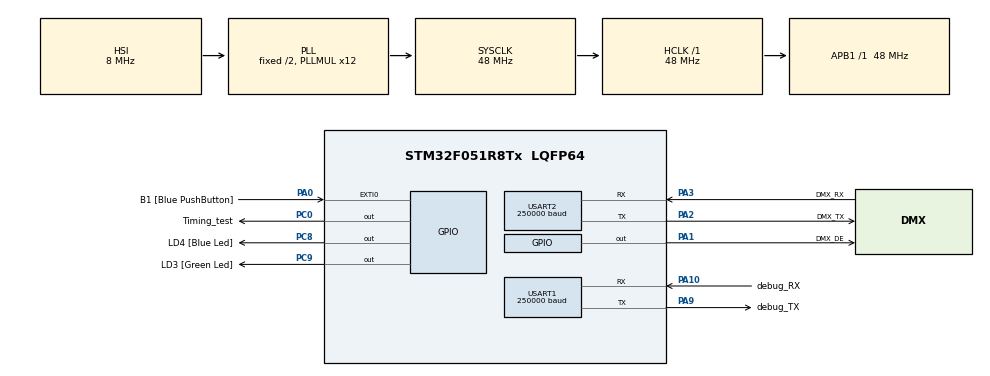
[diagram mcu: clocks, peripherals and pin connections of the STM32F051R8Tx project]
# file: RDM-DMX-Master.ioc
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Mcu.Family=STM32F0
Mcu.Name=STM32F051R8Tx
Mcu.Package=LQFP64
NVIC.TIM17_IRQn=true\:0\:0\:false\:false\:true\:true\:true\:true
PA0.GPIO_Label=B1 [Blue PushButton]
PA0.GPIO_ModeDefaultEXTI=GPIO_MODE_EVT_RISING
PA0.Signal=GPXTI0
PA1.GPIO_Label=DMX_DE
PA1.Signal=GPIO_Output
PA10.GPIO_Label=debug_RX
PA10.Mode=Asynchronous
PA10.Signal=USART1_RX
PA13.GPIO_Label=SWDIO
PA13.Mode=Serial_Wire
PA13.Signal=SYS_SWDIO
PA14.GPIO_Label=SWCLK
PA14.Mode=Serial_Wire
PA14.Signal=SYS_SWCLK
PA2.GPIO_Label=DMX_TX
PA2.Mode=Asynchronous
PA2.Signal=USART2_TX
PA3.GPIO_Label=DMX_RX
PA3.Mode=Asynchronous
PA3.Signal=USART2_RX
PA9.GPIO_Label=debug_TX
PA9.Mode=Asynchronous
PA9.Signal=USART1_TX
PC0.GPIO_Label=Timing_test
PC0.GPIO_Speed=GPIO_SPEED_FREQ_HIGH
PC0.Signal=GPIO_Output
PC8.GPIO_Label=LD4 [Blue Led]
PC8.Signal=GPIO_Output
PC9.GPIO_Label=LD3 [Green Led]
PC9.Signal=GPIO_Output
ProjectManager.HeapSize=0x200
ProjectManager.StackSize=0x400
ProjectManager.TargetToolchain=STM32CubeIDE
RCC.AHBFreq_Value=48000000
RCC.APB1Freq_Value=48000000
RCC.APB1TimFreq_Value=48000000
RCC.HCLKFreq_Value=48000000
RCC.PLLMUL=RCC_PLL_MUL12
RCC.SYSCLKFreq_VALUE=48000000
RCC.SYSCLKSource=RCC_SYSCLKSOURCE_PLLCLK
TIM17.AutoReloadPreload=TIM_AUTORELOAD_PRELOAD_ENABLE
TIM17.Period=0xffff
TIM17.Prescaler=48-1
TIM2.Prescaler=48-1
USART1.BaudRate=250000
USART1.StopBits=STOPBITS_2
USART1.VirtualMode-Asynchronous=VM_ASYNC
USART2.BaudRate=250000
USART2.StopBits=STOPBITS_2
USART2.VirtualMode-Asynchronous=VM_ASYNC
VP_TIM17_VS_ClockSourceINT.Mode=Enable_Timer
VP_TIM2_VS_ClockSourceINT.Mode=Internal
board=STM32F0DISCOVERY

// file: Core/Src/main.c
/* USER CODE BEGIN Header */
/**
  ******************************************************************************
  * @file           : main.c
  * @brief          : Main program body
  ******************************************************************************
  * @attention
  *
  * Copyright (c) 2023 STMicroelectronics.
  * All rights reserved.
  *
  * This software is licensed under terms that can be found in the LICENSE file
  * in the root directory of this software component.
  * If no LICENSE file comes with this software, it is provided AS-IS.
  *
  ******************************************************************************
  */
/* USER CODE END Header */
#include "main.h"

/* USER CODE BEGIN Includes */
#include "DMX.h"
#include <stdio.h>
#include <stdlib.h>
/* USER CODE END Includes */

/* USER CODE BEGIN PD */
#define TIMEOUT 100
#define NUM_CHANNELS 40
//#define DEBUG_RDM
//#define DEBUG_DMX
#define GUI_RDM_DMX
/* USER CODE END PD */

/* USER CODE BEGIN PM */
/* Macros para utilizar os mesmos pinos como UART e GPIO */
#define DMX_UART_Init() MX_USART2_UART_Init()
#define DMX_UART_DeInit HAL_UART_DeInit(&huart2)
#define DMX_GPIO_DeInit() HAL_GPIO_DeInit(GPIOA, GPIO_PIN_2); // Desativa o modo GPIO
#define DMX_Set_LOW() HAL_GPIO_WritePin(GPIOA, GPIO_PIN_2, GPIO_PIN_SET);
#define DMX_Set_HIGH() HAL_GPIO_WritePin(GPIOA, GPIO_PIN_2, GPIO_PIN_RESET);
#define DMX_Set_DE_LOW() HAL_GPIO_WritePin(DMX_DE_GPIO_Port, DMX_DE_Pin, GPIO_PIN_RESET);
#define DMX_Set_DE_HIGH() HAL_GPIO_WritePin(DMX_DE_GPIO_Port, DMX_DE_Pin, GPIO_PIN_SET);
/* USER CODE END PM */

TIM_HandleTypeDef htim2;
TIM_HandleTypeDef htim17;

UART_HandleTypeDef huart1;
UART_HandleTypeDef huart2;

/* USER CODE BEGIN PV */
// Defina os estados da máquina de estados para o envio DMX
typedef enum {
    STATE_IDLE,
	STATE_PREPARE,
    STATE_BREAK,
    STATE_MBB,
    STATE_DATA,
} DMX_State;

// Variáveis globais
DMX_State dmx_state = STATE_IDLE;
uint16_t dmx_index = 0;
uint16_t receivedIndex = 0;
uint8_t* receiveBuffer = NULL;
/* USER CODE END PV */

void SystemClock_Config(void);
static void MX_GPIO_Init(void);
static void MX_USART1_UART_Init(void);
static void MX_USART2_UART_Init(void);
static void MX_TIM2_Init(void);
static void MX_TIM17_Init(void);
/* USER CODE BEGIN PFP */
void SystemClock_Config(void);
static void MX_GPIO_Init(void);
static void MX_USART1_UART_Init(void);
static void MX_USART2_UART_Init(void);
static void MX_TIM2_Init(void);
static void DMX_GPIO_Init(void);
void DMX_SendHandler(void);
void startTiming(void);
void stopTiming(void);
/* USER CODE END PFP */

int main(void)
{

  /* MCU Configuration--------------------------------------------------------*/

  /* Reset of all peripherals, Initializes the Flash interface and the Systick. */
  HAL_Init();

  /* Configure the system clock */
  SystemClock_Config();

  /* Initialize all configured peripherals */
  MX_GPIO_Init();
  MX_USART1_UART_Init();
  MX_USART2_UART_Init();
  MX_TIM2_Init();
  MX_TIM17_Init();
  /* USER CODE BEGIN 2 */
	#define GUI_addr &huart1
	#define LIGHTING_addr &huart2

	uint8_t dataReceived;

	uint8_t GUI_receiveFinished = 0;
	uint8_t GUI_receive = 1;
	uint32_t currentTime;

	unsigned char viewDMX[20];

	DMX_UART_Init();
	HAL_TIM_Base_Start(&htim17);
	HAL_TIM_Base_Start(&htim2);
  /* USER CODE END 2 */

  /* Infinite loop */
  /* USER CODE BEGIN WHILE */
  while (1)
  {
	if(GUI_receive == 1){
		/* Recebe dados da GUI */

		if(HAL_UART_Receive (GUI_addr, &dataReceived, 1, 2) == HAL_OK){
			uint8_t* tempBuffer = (uint8_t*)realloc(receiveBuffer, (receivedIndex + 1) * sizeof(uint8_t)); /* Buffer temporario para alocacao dinamica*/
			receiveBuffer = tempBuffer;
			receiveBuffer[receivedIndex++] = dataReceived;
			GUI_receiveFinished = 1; /* Avisa que quando acabar o recebimento de bytes, pode enviar para a luminaria*/

		} else if(GUI_receiveFinished == 1){

			/* Se acabou o recebimento, envia para a luminária e reseta os parametros de recebimento*/
			if(receivedIndex > 5){ //Verifica se há dados para serem repassados
				dmx_state = STATE_PREPARE;
				DMX_SendHandler();
			}

			if(receiveBuffer[0] == 0xCC){	// Se for um frame RDM, a proxima iteracao sera a espera de um comando vindo da luminaria
				GUI_receive = 0; /* Entra para a secao que espera o recebimento de dados da luminaria e envia para a GUI*/
				currentTime = __HAL_TIM_GET_COUNTER(&htim2); /* Inicia timer para definir rota de retorno para este modo*/

			}

			GUI_receiveFinished = 0;
//			receivedIndex = 0;
//			free(receiveBuffer);
//			receiveBuffer = NULL;
		}
	} else{
		/* Recebe dados da luminaria */
		if(HAL_UART_Receive (LIGHTING_addr, &dataReceived, 1, 1) == HAL_OK){
			uint8_t* tempBuffer = (uint8_t*)realloc(receiveBuffer, (receivedIndex + 1) * sizeof(uint8_t)); /* Buffer temporario para alocacao dinamica*/
			receiveBuffer = tempBuffer;
			receiveBuffer[receivedIndex++] = dataReceived;
			GUI_receiveFinished = 1; /* Avisa que quando acabar o recebimento de bytes, pode enviar para a luminaria*/

		} else if(GUI_receiveFinished == 1){
			/* Se acabou o recebimento, envia para a GUI e reseta os parametros de recebimento*/
			if(receivedIndex > 1)//Verifica se há dados para serem repassados
				HAL_UART_Transmit(GUI_addr, receiveBuffer, receivedIndex, 1);

			GUI_receiveFinished = 0;
			receivedIndex = 0;
			GUI_receive = 1; /* Volta para o recebimento de dados da GUI e envio para a luminaria*/
			free(receiveBuffer);
			receiveBuffer = NULL;

		} else if((currentTime - __HAL_TIM_GET_COUNTER(&htim2)) > TIME_WAIT_RDM_RESPONSE){
			GUI_receive = 1; /* Volta para o recebimento de dados da GUI e envio para a luminaria*/
		}
	}
    /* USER CODE END WHILE */

  }
}

void SystemClock_Config(void)
{
  RCC_OscInitTypeDef RCC_OscInitStruct = {0};
  RCC_ClkInitTypeDef RCC_ClkInitStruct = {0};
  RCC_PeriphCLKInitTypeDef PeriphClkInit = {0};

  /** Initializes the RCC Oscillators according to the specified parameters
  * in the RCC_OscInitTypeDef structure.
  */
  RCC_OscInitStruct.OscillatorType = RCC_OSCILLATORTYPE_HSI;
  RCC_OscInitStruct.HSIState = RCC_HSI_ON;
  RCC_OscInitStruct.HSICalibrationValue = RCC_HSICALIBRATION_DEFAULT;
  RCC_OscInitStruct.PLL.PLLState = RCC_PLL_ON;
  RCC_OscInitStruct.PLL.PLLSource = RCC_PLLSOURCE_HSI;
  RCC_OscInitStruct.PLL.PLLMUL = RCC_PLL_MUL12;
  RCC_OscInitStruct.PLL.PREDIV = RCC_PREDIV_DIV1;
  if (HAL_RCC_OscConfig(&RCC_OscInitStruct) != HAL_OK)
  {
    Error_Handler();
  }

  /** Initializes the CPU, AHB and APB buses clocks
  */
  RCC_ClkInitStruct.ClockType = RCC_CLOCKTYPE_HCLK|RCC_CLOCKTYPE_SYSCLK
                              |RCC_CLOCKTYPE_PCLK1;
  RCC_ClkInitStruct.SYSCLKSource = RCC_SYSCLKSOURCE_PLLCLK;
  RCC_ClkInitStruct.AHBCLKDivider = RCC_SYSCLK_DIV1;
  RCC_ClkInitStruct.APB1CLKDivider = RCC_HCLK_DIV1;

  if (HAL_RCC_ClockConfig(&RCC_ClkInitStruct, FLASH_LATENCY_1) != HAL_OK)
  {
    Error_Handler();
  }
  PeriphClkInit.PeriphClockSelection = RCC_PERIPHCLK_USART1;
  PeriphClkInit.Usart1ClockSelection = RCC_USART1CLKSOURCE_PCLK1;
  if (HAL_RCCEx_PeriphCLKConfig(&PeriphClkInit) != HAL_OK)
  {
    Error_Handler();
  }
}

static void MX_TIM2_Init(void)
{

  TIM_ClockConfigTypeDef sClockSourceConfig = {0};
  TIM_MasterConfigTypeDef sMasterConfig = {0};

  htim2.Instance = TIM2;
  htim2.Init.Prescaler = 48-1;
  htim2.Init.CounterMode = TIM_COUNTERMODE_UP;
  htim2.Init.Period = 4294967295;
  htim2.Init.ClockDivision = TIM_CLOCKDIVISION_DIV1;
  htim2.Init.AutoReloadPreload = TIM_AUTORELOAD_PRELOAD_DISABLE;
  if (HAL_TIM_Base_Init(&htim2) != HAL_OK)
  {
    Error_Handler();
  }
  sClockSourceConfig.ClockSource = TIM_CLOCKSOURCE_INTERNAL;
  if (HAL_TIM_ConfigClockSource(&htim2, &sClockSourceConfig) != HAL_OK)
  {
    Error_Handler();
  }
  sMasterConfig.MasterOutputTrigger = TIM_TRGO_RESET;
  sMasterConfig.MasterSlaveMode = TIM_MASTERSLAVEMODE_DISABLE;
  if (HAL_TIMEx_MasterConfigSynchronization(&htim2, &sMasterConfig) != HAL_OK)
  {
    Error_Handler();
  }

}

static void MX_TIM17_Init(void)
{

  htim17.Instance = TIM17;
  htim17.Init.Prescaler = 48-1;
  htim17.Init.CounterMode = TIM_COUNTERMODE_UP;
  htim17.Init.Period = 0xffff;
  htim17.Init.ClockDivision = TIM_CLOCKDIVISION_DIV1;
  htim17.Init.RepetitionCounter = 0;
  htim17.Init.AutoReloadPreload = TIM_AUTORELOAD_PRELOAD_ENABLE;
  if (HAL_TIM_Base_Init(&htim17) != HAL_OK)
  {
    Error_Handler();
  }

}

static void MX_USART1_UART_Init(void)
{

  huart1.Instance = USART1;
  huart1.Init.BaudRate = 250000;
  huart1.Init.WordLength = UART_WORDLENGTH_8B;
  huart1.Init.StopBits = UART_STOPBITS_2;
  huart1.Init.Parity = UART_PARITY_NONE;
  huart1.Init.Mode = UART_MODE_TX_RX;
  huart1.Init.HwFlowCtl = UART_HWCONTROL_NONE;
  huart1.Init.OverSampling = UART_OVERSAMPLING_16;
  huart1.Init.OneBitSampling = UART_ONE_BIT_SAMPLE_DISABLE;
  huart1.AdvancedInit.AdvFeatureInit = UART_ADVFEATURE_NO_INIT;
  if (HAL_UART_Init(&huart1) != HAL_OK)
  {
    Error_Handler();
  }

}

static void MX_USART2_UART_Init(void)
{

  huart2.Instance = USART2;
  huart2.Init.BaudRate = 250000;
  huart2.Init.WordLength = UART_WORDLENGTH_8B;
  huart2.Init.StopBits = UART_STOPBITS_2;
  huart2.Init.Parity = UART_PARITY_NONE;
  huart2.Init.Mode = UART_MODE_TX_RX;
  huart2.Init.HwFlowCtl = UART_HWCONTROL_NONE;
  huart2.Init.OverSampling = UART_OVERSAMPLING_16;
  huart2.Init.OneBitSampling = UART_ONE_BIT_SAMPLE_DISABLE;
  huart2.AdvancedInit.AdvFeatureInit = UART_ADVFEATURE_NO_INIT;
  if (HAL_UART_Init(&huart2) != HAL_OK)
  {
    Error_Handler();
  }

}

static void MX_GPIO_Init(void)
{
  GPIO_InitTypeDef GPIO_InitStruct = {0};

  /* GPIO Ports Clock Enable */
  __HAL_RCC_GPIOC_CLK_ENABLE();
  __HAL_RCC_GPIOA_CLK_ENABLE();

  /*Configure GPIO pin Output Level */
  HAL_GPIO_WritePin(GPIOC, Timing_test_Pin|LD4_Pin|LD3_Pin, GPIO_PIN_RESET);

  /*Configure GPIO pin Output Level */
  HAL_GPIO_WritePin(DMX_DE_GPIO_Port, DMX_DE_Pin, GPIO_PIN_RESET);

  /*Configure GPIO pin : Timing_test_Pin */
  GPIO_InitStruct.Pin = Timing_test_Pin;
  GPIO_InitStruct.Mode = GPIO_MODE_OUTPUT_PP;
  GPIO_InitStruct.Pull = GPIO_NOPULL;
  GPIO_InitStruct.Speed = GPIO_SPEED_FREQ_HIGH;
  HAL_GPIO_Init(Timing_test_GPIO_Port, &GPIO_InitStruct);

  /*Configure GPIO pin : B1_Pin */
  GPIO_InitStruct.Pin = B1_Pin;
  GPIO_InitStruct.Mode = GPIO_MODE_EVT_RISING;
  GPIO_InitStruct.Pull = GPIO_NOPULL;
  HAL_GPIO_Init(B1_GPIO_Port, &GPIO_InitStruct);

  /*Configure GPIO pin : DMX_DE_Pin */
  GPIO_InitStruct.Pin = DMX_DE_Pin;
  GPIO_InitStruct.Mode = GPIO_MODE_OUTPUT_PP;
  GPIO_InitStruct.Pull = GPIO_NOPULL;
  GPIO_InitStruct.Speed = GPIO_SPEED_FREQ_LOW;
  HAL_GPIO_Init(DMX_DE_GPIO_Port, &GPIO_InitStruct);

  /*Configure GPIO pins : LD4_Pin LD3_Pin */
  GPIO_InitStruct.Pin = LD4_Pin|LD3_Pin;
  GPIO_InitStruct.Mode = GPIO_MODE_OUTPUT_PP;
  GPIO_InitStruct.Pull = GPIO_NOPULL;
  GPIO_InitStruct.Speed = GPIO_SPEED_FREQ_LOW;
  HAL_GPIO_Init(GPIOC, &GPIO_InitStruct);

}

/* USER CODE BEGIN 4 */
/*
 * Função que envia o comando DMX seguindo os tempos de MBB, break e MAB exigidos pela norma
 *
 * */

static void DMX_GPIO_Init(void){
	GPIO_InitTypeDef GPIO_InitStruct = {0};
	uint16_t receivedIndex = 0;
	uint8_t GUI_receiveFinished = 0;
	uint8_t GUI_receive = 1;

	HAL_GPIO_WritePin(GPIOA, GPIO_PIN_2, GPIO_PIN_SET);
	uint32_t currentTime;

	// Configure GPIO pin as output
	GPIO_InitStruct.Pin = GPIO_PIN_2;
	GPIO_InitStruct.Mode = GPIO_MODE_OUTPUT_PP;
	GPIO_InitStruct.Pull = GPIO_NOPULL;
	GPIO_InitStruct.Speed = GPIO_SPEED_FREQ_LOW;
	HAL_GPIO_Init(GPIOA, &GPIO_InitStruct);
	unsigned char viewDMX[20];

}

void DMX_SendHandler(void) {
    switch (dmx_state) {
        case STATE_IDLE:
            break;

        case STATE_PREPARE:
        	DMX_UART_DeInit;
			DMX_GPIO_Init();   // Inicia DMX modo GPIO
        	//DMX_Set_LOW();
        	DMX_Set_DE_HIGH(); // Habilita o barramento DMX para escrita (Necessidade do RS485)

        	__HAL_TIM_ENABLE_IT(&htim17, TIM_IT_UPDATE);
			//TIM17->CNT = 0;
			//TIM17->ARR = 10;
			dmx_state = STATE_MBB;
			break;

        case STATE_MBB:
			DMX_Set_HIGH(); // Setar o MBB

			__HAL_TIM_ENABLE_IT(&htim17, TIM_IT_UPDATE);
			TIM17->CNT = 0;
			TIM17->ARR = TIME_BEFORE_BREAK;
			dmx_state = STATE_BREAK;
			break;

        case STATE_BREAK:
            DMX_Set_LOW();  // Setar o Break

            __HAL_TIM_ENABLE_IT(&htim17, TIM_IT_UPDATE);
            TIM17->CNT = 0;
            TIM17->ARR = TIME_BREAK;
            dmx_state = STATE_DATA;
            break;

        case STATE_DATA:
        	DMX_GPIO_DeInit(); 	// Desativa o modo GPIO
			DMX_UART_Init();		// Inicia novamente o modo USART

        	HAL_UART_Transmit(LIGHTING_addr, receiveBuffer, receivedIndex, 50);
        	stopTiming();

			DMX_Set_DE_LOW();  // Desabilitar o barramento DMX para escrita (Necessidade do RS485)
			dmx_state = STATE_IDLE;  // Transição para o estado de IDLE

			// libera o buffer de recebimento de dados
			receivedIndex = 0;
			free(receiveBuffer);
			receiveBuffer = NULL;
            break;
    }
}

void HAL_TIM_PeriodElapsedCallback(TIM_HandleTypeDef* htim) {
    if (htim->Instance == TIM17) {
        // Lógica a ser executada quando ocorre a interrupção do Timer
    }
}

// Função para iniciar a temporização
void startTiming() {
    HAL_GPIO_WritePin(GPIOC, Timing_test_Pin, GPIO_PIN_SET); // Defina o pino para alto
}

// Função para parar a temporização
void stopTiming() {
    HAL_GPIO_WritePin(GPIOC, Timing_test_Pin, GPIO_PIN_RESET); // Defina o pino para baixo
}
/* USER CODE END 4 */

void Error_Handler(void)
{
  __disable_irq();
  while (1)
  {
  }
}
